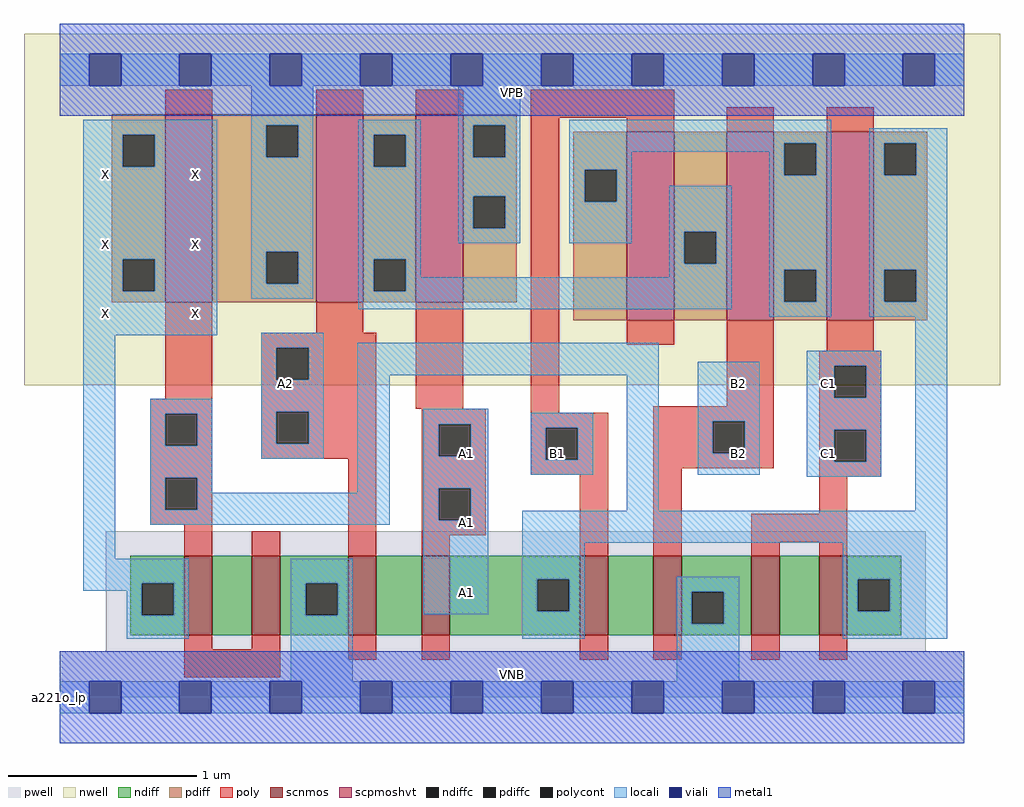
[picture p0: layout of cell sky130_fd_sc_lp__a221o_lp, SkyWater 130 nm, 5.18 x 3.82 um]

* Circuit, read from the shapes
.subckt sky130_fd_sc_lp__a221o_lp A1 A2 B1 B2 C1 VGND VNB VPB VPWR X
XM1 n1 n2 X VNB sky130_fd_pr__nfet_01v8 w=0.42 l=0.15
XM2 VGND n2 n1 VNB sky130_fd_pr__nfet_01v8 w=0.42 l=0.15
XM3 n3 A2 VGND VNB sky130_fd_pr__nfet_01v8 w=0.42 l=0.15
XM4 n2 A1 n3 VNB sky130_fd_pr__nfet_01v8 w=0.42 l=0.15
XM5 n4 B1 n2 VNB sky130_fd_pr__nfet_01v8 w=0.42 l=0.15
XM6 VGND B2 n4 VNB sky130_fd_pr__nfet_01v8 w=0.42 l=0.15
XM7 n5 C1 VGND VNB sky130_fd_pr__nfet_01v8 w=0.42 l=0.15
XM8 n2 C1 n5 VNB sky130_fd_pr__nfet_01v8 w=0.42 l=0.15
XM9 VPWR n2 X VPB sky130_fd_pr__pfet_01v8_hvt w=1 l=0.25
XM10 n6 A2 VPWR VPB sky130_fd_pr__pfet_01v8_hvt w=1 l=0.25
XM11 VPWR A1 n6 VPB sky130_fd_pr__pfet_01v8_hvt w=1 l=0.25
XM12 n6 B1 n7 VPB sky130_fd_pr__pfet_01v8_hvt w=1 l=0.25
XM13 n7 B2 n6 VPB sky130_fd_pr__pfet_01v8_hvt w=1 l=0.25
XM14 n2 C1 n7 VPB sky130_fd_pr__pfet_01v8_hvt w=1 l=0.25
.ends

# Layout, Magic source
magic
tech sky130A
magscale 1 2
<< nwell >>
rect -38 331 998 704
<< pwell >>
rect 49 49 919 176
rect 0 0 960 49
<< scnmos >>
rect 132 66 162 150
rect 204 66 234 150
rect 306 66 336 150
rect 384 66 414 150
rect 552 66 582 150
rect 630 66 660 150
rect 734 66 764 150
rect 806 66 836 150
<< scpmoshvt >>
rect 112 419 162 619
rect 272 419 322 619
rect 378 419 428 619
rect 602 400 652 600
rect 708 400 758 600
rect 814 400 864 600
<< ndiff >>
rect 75 121 132 150
rect 75 87 87 121
rect 121 87 132 121
rect 75 66 132 87
rect 162 66 204 150
rect 234 121 306 150
rect 234 87 261 121
rect 295 87 306 121
rect 234 66 306 87
rect 336 66 384 150
rect 414 125 552 150
rect 414 91 507 125
rect 541 91 552 125
rect 414 66 552 91
rect 582 66 630 150
rect 660 112 734 150
rect 660 78 671 112
rect 705 78 734 112
rect 660 66 734 78
rect 764 66 806 150
rect 836 125 893 150
rect 836 91 847 125
rect 881 91 893 125
rect 836 66 893 91
<< pdiff >>
rect 55 597 112 619
rect 55 563 67 597
rect 101 563 112 597
rect 55 465 112 563
rect 55 431 67 465
rect 101 431 112 465
rect 55 419 112 431
rect 162 607 272 619
rect 162 573 219 607
rect 253 573 272 607
rect 162 473 272 573
rect 162 439 219 473
rect 253 439 272 473
rect 162 419 272 439
rect 322 597 378 619
rect 322 563 333 597
rect 367 563 378 597
rect 322 465 378 563
rect 322 431 333 465
rect 367 431 378 465
rect 322 419 378 431
rect 428 607 485 619
rect 428 573 439 607
rect 473 573 485 607
rect 428 532 485 573
rect 428 498 439 532
rect 473 498 485 532
rect 428 419 485 498
rect 545 560 602 600
rect 545 526 557 560
rect 591 526 602 560
rect 545 400 602 526
rect 652 494 708 600
rect 652 460 663 494
rect 697 460 708 494
rect 652 400 708 460
rect 758 588 814 600
rect 758 554 769 588
rect 803 554 814 588
rect 758 454 814 554
rect 758 420 769 454
rect 803 420 814 454
rect 758 400 814 420
rect 864 588 921 600
rect 864 554 875 588
rect 909 554 921 588
rect 864 454 921 554
rect 864 420 875 454
rect 909 420 921 454
rect 864 400 921 420
<< ndiffc >>
rect 87 87 121 121
rect 261 87 295 121
rect 507 91 541 125
rect 671 78 705 112
rect 847 91 881 125
<< pdiffc >>
rect 67 563 101 597
rect 67 431 101 465
rect 219 573 253 607
rect 219 439 253 473
rect 333 563 367 597
rect 333 431 367 465
rect 439 573 473 607
rect 439 498 473 532
rect 557 526 591 560
rect 663 460 697 494
rect 769 554 803 588
rect 769 420 803 454
rect 875 554 909 588
rect 875 420 909 454
<< poly >>
rect 112 619 162 645
rect 272 619 322 645
rect 378 619 428 645
rect 500 615 652 645
rect 112 317 162 419
rect 272 387 322 419
rect 96 301 162 317
rect 96 267 112 301
rect 146 267 162 301
rect 96 233 162 267
rect 214 371 336 387
rect 214 337 230 371
rect 264 337 336 371
rect 214 303 336 337
rect 378 306 428 419
rect 214 269 230 303
rect 264 269 336 303
rect 214 253 336 269
rect 96 199 112 233
rect 146 199 162 233
rect 96 183 162 199
rect 132 150 162 183
rect 204 150 234 176
rect 306 150 336 253
rect 384 290 452 306
rect 384 256 402 290
rect 436 256 452 290
rect 384 222 452 256
rect 500 302 530 615
rect 602 600 652 615
rect 708 600 758 626
rect 814 600 864 626
rect 602 374 652 400
rect 708 309 758 400
rect 814 368 864 400
rect 500 286 582 302
rect 500 252 516 286
rect 550 252 582 286
rect 500 236 582 252
rect 384 188 402 222
rect 436 188 452 222
rect 384 172 452 188
rect 384 150 414 172
rect 552 150 582 236
rect 630 293 758 309
rect 630 259 693 293
rect 727 259 758 293
rect 630 243 758 259
rect 806 352 872 368
rect 806 318 822 352
rect 856 318 872 352
rect 806 284 872 318
rect 806 250 822 284
rect 856 250 872 284
rect 630 150 660 243
rect 806 234 872 250
rect 806 195 836 234
rect 734 165 836 195
rect 734 150 764 165
rect 806 150 836 165
rect 132 51 162 66
rect 204 51 234 66
rect 132 21 234 51
rect 306 40 336 66
rect 384 40 414 66
rect 552 40 582 66
rect 630 40 660 66
rect 734 40 764 66
rect 806 40 836 66
<< polycont >>
rect 112 267 146 301
rect 230 337 264 371
rect 230 269 264 303
rect 112 199 146 233
rect 402 256 436 290
rect 516 252 550 286
rect 402 188 436 222
rect 693 259 727 293
rect 822 318 856 352
rect 822 250 856 284
<< locali >>
rect 0 649 31 683
rect 65 649 127 683
rect 161 649 223 683
rect 257 649 319 683
rect 353 649 415 683
rect 449 649 511 683
rect 545 649 607 683
rect 641 649 703 683
rect 737 649 799 683
rect 833 649 895 683
rect 929 649 960 683
rect 25 597 167 613
rect 25 563 67 597
rect 101 563 167 597
rect 25 465 167 563
rect 25 431 67 465
rect 101 431 167 465
rect 25 384 167 431
rect 203 607 269 649
rect 203 573 219 607
rect 253 573 269 607
rect 203 473 269 573
rect 203 439 219 473
rect 253 439 269 473
rect 203 423 269 439
rect 317 597 383 613
rect 317 563 333 597
rect 367 563 383 597
rect 317 465 383 563
rect 423 607 489 649
rect 423 573 439 607
rect 473 573 489 607
rect 423 532 489 573
rect 423 498 439 532
rect 473 498 489 532
rect 423 482 489 498
rect 541 588 819 613
rect 541 579 769 588
rect 541 560 607 579
rect 541 526 557 560
rect 591 526 607 560
rect 753 554 769 579
rect 803 554 819 588
rect 541 482 607 526
rect 647 494 713 543
rect 317 431 333 465
rect 367 446 383 465
rect 647 460 663 494
rect 697 460 713 494
rect 647 446 713 460
rect 367 431 713 446
rect 317 412 713 431
rect 753 454 819 554
rect 753 420 769 454
rect 803 420 819 454
rect 753 404 819 420
rect 859 588 942 604
rect 859 554 875 588
rect 909 554 942 588
rect 859 454 942 554
rect 859 420 875 454
rect 909 420 942 454
rect 859 404 942 420
rect 25 147 59 384
rect 214 371 280 387
rect 214 337 230 371
rect 264 337 280 371
rect 96 301 162 317
rect 96 267 112 301
rect 146 267 162 301
rect 96 233 162 267
rect 214 303 280 337
rect 214 269 230 303
rect 264 269 280 303
rect 214 253 280 269
rect 316 342 636 376
rect 96 199 112 233
rect 146 217 162 233
rect 316 217 350 342
rect 146 199 350 217
rect 96 183 350 199
rect 386 290 455 306
rect 386 256 402 290
rect 436 256 455 290
rect 386 222 455 256
rect 500 286 566 302
rect 500 252 516 286
rect 550 252 566 286
rect 500 236 566 252
rect 386 188 402 222
rect 436 188 455 222
rect 602 198 636 342
rect 677 293 743 356
rect 677 259 693 293
rect 727 259 743 293
rect 677 236 743 259
rect 793 352 872 368
rect 793 318 822 352
rect 856 318 872 352
rect 793 284 872 318
rect 793 250 822 284
rect 856 250 872 284
rect 793 234 872 250
rect 908 198 942 404
rect 25 121 137 147
rect 25 113 87 121
rect 71 87 87 113
rect 121 87 137 121
rect 71 62 137 87
rect 245 121 311 147
rect 245 87 261 121
rect 295 87 311 121
rect 386 88 455 188
rect 491 164 942 198
rect 491 125 557 164
rect 491 91 507 125
rect 541 91 557 125
rect 245 17 311 87
rect 491 62 557 91
rect 655 112 721 128
rect 655 78 671 112
rect 705 78 721 112
rect 655 17 721 78
rect 831 125 942 164
rect 831 91 847 125
rect 881 91 942 125
rect 831 62 942 91
rect 0 -17 31 17
rect 65 -17 127 17
rect 161 -17 223 17
rect 257 -17 319 17
rect 353 -17 415 17
rect 449 -17 511 17
rect 545 -17 607 17
rect 641 -17 703 17
rect 737 -17 799 17
rect 833 -17 895 17
rect 929 -17 960 17
<< viali >>
rect 31 649 65 683
rect 127 649 161 683
rect 223 649 257 683
rect 319 649 353 683
rect 415 649 449 683
rect 511 649 545 683
rect 607 649 641 683
rect 703 649 737 683
rect 799 649 833 683
rect 895 649 929 683
rect 31 -17 65 17
rect 127 -17 161 17
rect 223 -17 257 17
rect 319 -17 353 17
rect 415 -17 449 17
rect 511 -17 545 17
rect 607 -17 641 17
rect 703 -17 737 17
rect 799 -17 833 17
rect 895 -17 929 17
<< metal1 >>
rect 0 683 960 715
rect 0 649 31 683
rect 65 649 127 683
rect 161 649 223 683
rect 257 649 319 683
rect 353 649 415 683
rect 449 649 511 683
rect 545 649 607 683
rect 641 649 703 683
rect 737 649 799 683
rect 833 649 895 683
rect 929 649 960 683
rect 0 617 960 649
rect 0 17 960 49
rect 0 -17 31 17
rect 65 -17 127 17
rect 161 -17 223 17
rect 257 -17 319 17
rect 353 -17 415 17
rect 449 -17 511 17
rect 545 -17 607 17
rect 641 -17 703 17
rect 737 -17 799 17
rect 833 -17 895 17
rect 929 -17 960 17
rect 0 -49 960 -17
<< labels >>
flabel pwell s 0 0 960 49 0 FreeSans 200 0 0 0 VNB
port 7 nsew ground bidirectional
flabel nwell s 0 617 960 666 0 FreeSans 200 0 0 0 VPB
port 8 nsew power bidirectional
rlabel comment s 0 0 0 0 4 a221o_lp
flabel metal1 s 0 617 960 666 0 FreeSans 340 0 0 0 VPWR
port 9 nsew power bidirectional
flabel metal1 s 0 0 960 49 0 FreeSans 340 0 0 0 VGND
port 6 nsew ground bidirectional
flabel locali s 31 390 65 424 0 FreeSans 340 0 0 0 X
port 10 nsew signal output
flabel locali s 31 464 65 498 0 FreeSans 340 0 0 0 X
port 10 nsew signal output
flabel locali s 31 538 65 572 0 FreeSans 340 0 0 0 X
port 10 nsew signal output
flabel locali s 127 390 161 424 0 FreeSans 340 0 0 0 X
port 10 nsew signal output
flabel locali s 127 464 161 498 0 FreeSans 340 0 0 0 X
port 10 nsew signal output
flabel locali s 127 538 161 572 0 FreeSans 340 0 0 0 X
port 10 nsew signal output
flabel locali s 703 242 737 276 0 FreeSans 340 0 0 0 B2
port 4 nsew signal input
flabel locali s 703 316 737 350 0 FreeSans 340 0 0 0 B2
port 4 nsew signal input
flabel locali s 511 242 545 276 0 FreeSans 340 0 0 0 B1
port 3 nsew signal input
flabel locali s 223 316 257 350 0 FreeSans 340 0 0 0 A2
port 2 nsew signal input
flabel locali s 415 94 449 128 0 FreeSans 340 0 0 0 A1
port 1 nsew signal input
flabel locali s 415 168 449 202 0 FreeSans 340 0 0 0 A1
port 1 nsew signal input
flabel locali s 415 242 449 276 0 FreeSans 340 0 0 0 A1
port 1 nsew signal input
flabel locali s 799 242 833 276 0 FreeSans 340 0 0 0 C1
port 5 nsew signal input
flabel locali s 799 316 833 350 0 FreeSans 340 0 0 0 C1
port 5 nsew signal input
<< properties >>
string LEFsite unit
string LEFclass CORE
string FIXED_BBOX 0 0 960 666
string GDS_FILE $PDKPATH/libs.ref/sky130_fd_sc_lp/gds/sky130_fd_sc_lp.gds
string LEFsymmetry X Y R90
string GDS_END 6112120
string GDS_START 6103656
<< end >>
